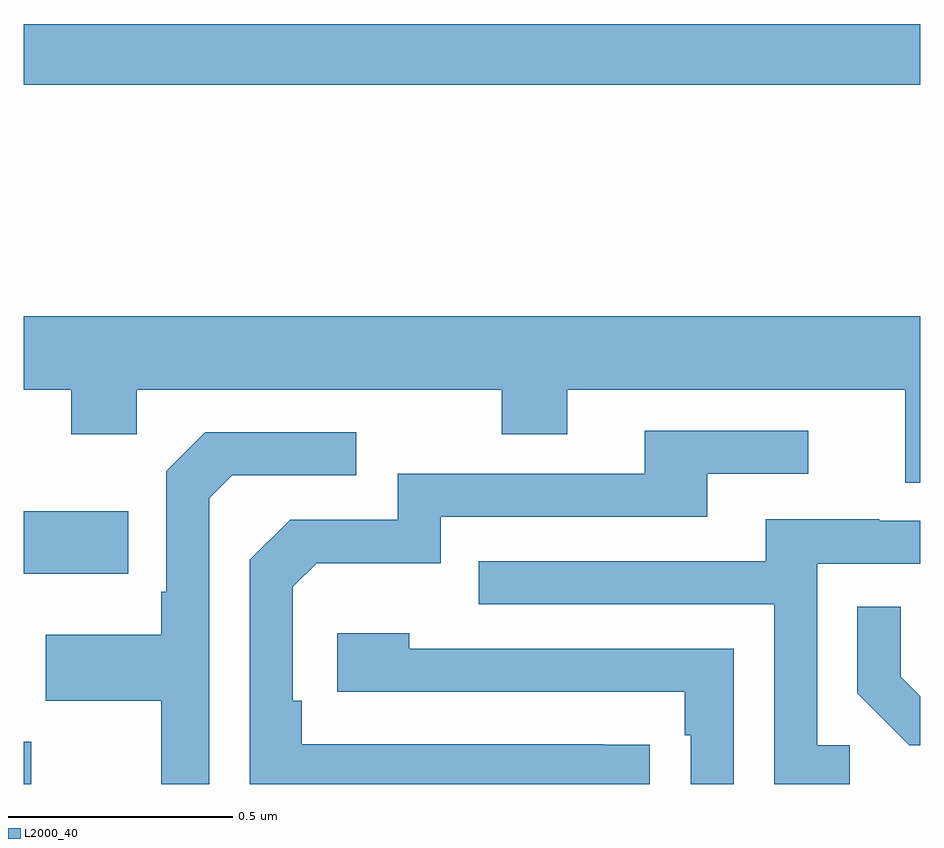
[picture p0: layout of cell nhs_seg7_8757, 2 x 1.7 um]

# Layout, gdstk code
import gdstk
lib = gdstk.Library(unit=1e-6, precision=1e-09)
def R(c, l, rs):  # rectangles x0, y0, x1, y1
    for r in rs: c.add(gdstk.rectangle(r[:2], r[2:], *l))
def P(c, l, *ps):  # polygons
    for p in ps: c.add(gdstk.Polygon(p, *l))
L2000_40 = (2000, 40)

nhs_seg7_8757 = lib.new_cell('nhs_seg7_8757')
R(nhs_seg7_8757, L2000_40, [(228,1069,228.016,1069.094), (228,1069.469,228.233,1069.609), (228,1070.56,230,1070.696)])
P(nhs_seg7_8757, L2000_40, [(230,1070.044),(228,1070.044),(228,1069.88),(228.106,1069.88),(228.106,1069.781),(228.252,1069.781),(228.252,1069.88),(229.066,1069.88),(229.066,1069.781),(229.213,1069.781),(229.213,1069.88),(229.967,1069.88),(229.967,1069.672),(230,1069.672)],
  [(229.397,1069.088),(229.295,1069.088),(229.295,1069.089),(228.62,1069.089),(228.62,1069.186),(228.6,1069.186),(228.6,1069.44),(228.653,1069.493),(228.93,1069.493),(228.93,1069.596),(229.525,1069.596),(229.525,1069.692),(229.75,1069.692),(229.75,1069.788),(229.385,1069.788),(229.385,1069.692),(228.834,1069.692),(228.834,1069.59),(228.594,1069.59),(228.504,1069.5),(228.504,1069),(229.397,1069)],
  [(228.414,1069.638),(228.465,1069.689),(228.742,1069.689),(228.742,1069.785),(228.405,1069.785),(228.318,1069.698),(228.318,1069.429),(228.306,1069.429),(228.306,1069.333),(228.049,1069.333),(228.049,1069.186),(228.306,1069.186),(228.306,1069),(228.414,1069)],
  [(229.843,1069.086),(229.77,1069.086),(229.77,1069.491),(230,1069.491),(230,1069.587),(229.909,1069.587),(229.909,1069.591),(229.655,1069.591),(229.655,1069.497),(229.015,1069.497),(229.015,1069.401),(229.674,1069.401),(229.674,1069),(229.843,1069)],
  [(230,1069.196),(229.957,1069.239),(229.957,1069.396),(229.86,1069.396),(229.86,1069.202),(229.976,1069.086),(230,1069.086)],
  [(229.584,1069.302),(228.86,1069.302),(228.86,1069.336),(228.699,1069.336),(228.699,1069.206),(229.475,1069.206),(229.475,1069.109),(229.488,1069.109),(229.488,1069),(229.584,1069)])

lib.write_gds('nhs_seg7_8757.gds')
